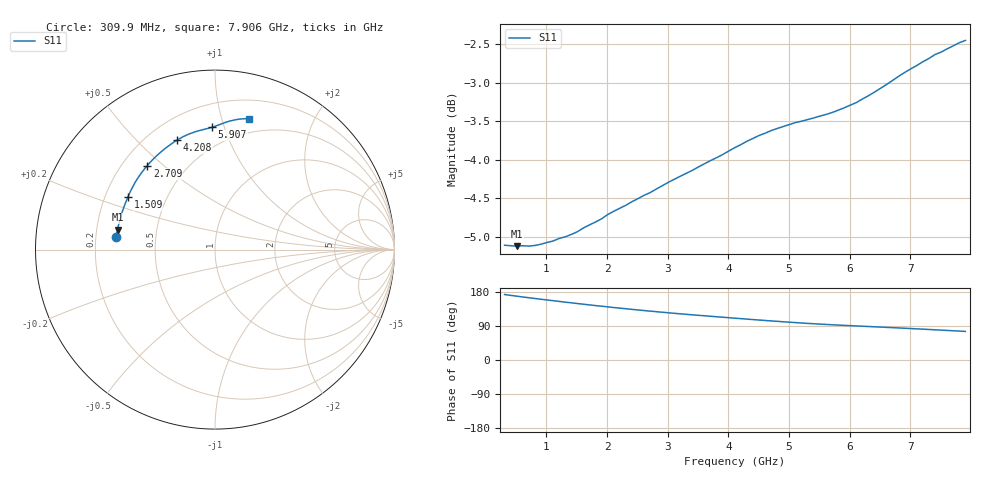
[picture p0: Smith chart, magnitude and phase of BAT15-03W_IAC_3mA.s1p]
! Infineon Technologies  Discrete & RF Semiconductors
! BAT15-03W-E6327
! IAC = 3 mA
! One-Port S-Parameters
# Hz  S  MA  R  50
!f  S11
!Hz  Mag  Ang
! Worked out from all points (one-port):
!   77 points, 309.9 MHz to 7.906 GHz, reference 50 ohm
!   lowest |S11| = -5.1 dB at 509.8 MHz (marker M1), VSWR 3.49, Z = 14.5 + j4.63 ohm
!   |S11| at or under -10 dB: nowhere
!   S11 on the Smith chart (normalised r, x): 309.9 MHz: 0.29, +0.06; 1.509 GHz: 0.30, +0.25; 2.709 GHz: 0.30, +0.44; 4.208 GHz: 0.32, +0.66; 5.907 GHz: 0.36, +0.91; 7.906 GHz: 0.36, +1.23
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3.0985e8  0.5551 172.7
5.0975e8  0.5543 168.5
6.097e8  0.5547 166.3
9.0955e8  0.556 160.3
1.2094e9  0.5608 154.6
1.30935e9  0.5622 152.7
1.50925e9  0.5665 149.0
1.70915e9  0.5723 145.3
2.009e9  0.5812 140.2
2.2089e9  0.5867 136.8
2.50875e9  0.5953 132.1
2.70865e9  0.6006 129.0
3.0085e9  0.6099 124.6
3.2084e9  0.6156 121.9
3.70815e9  0.6303 115.3
4.10795e9  0.6426 110.3
4.2079e9  0.6455 109.1
4.50775e9  0.6544 105.4
4.70765e9  0.6592 103.1
5.10745e9  0.6671 98.7
5.50725e9  0.6736 94.7
5.90705e9  0.6819 91.4
6.007e9  0.6847 90.6
6.50675e9  0.7022 86.9
7.0065e9  0.723 83.0
7.4063e9  0.7387 79.7
7.8061e9  0.7519 76.3
7.90605e9  0.7544 75.4
